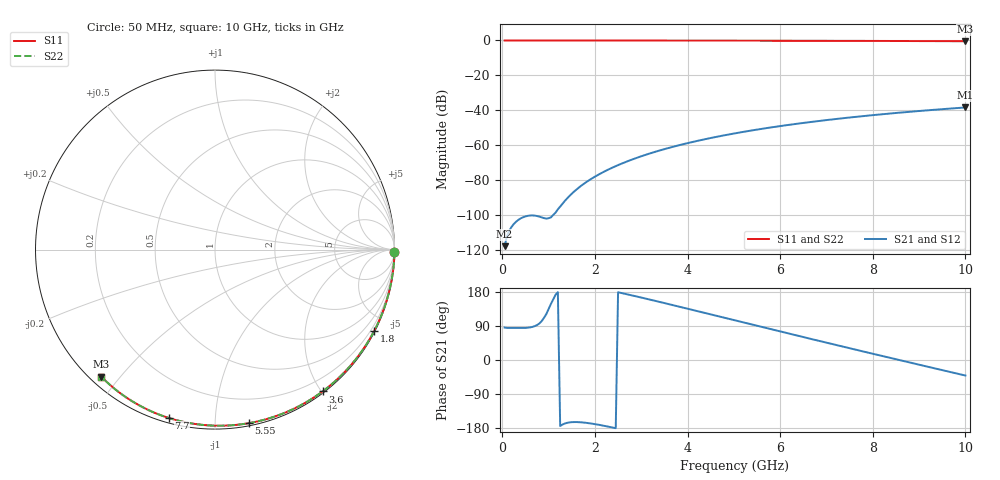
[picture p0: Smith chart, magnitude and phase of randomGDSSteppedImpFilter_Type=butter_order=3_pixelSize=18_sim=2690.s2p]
! freq	dB(S11)	phase(S11)	dB(S12)	phase(S12)
!  dB(S21)	phase(S21)	dB(S22)	phase(S22)
!S-par simulation data
#  GHz  S  DB  R 50
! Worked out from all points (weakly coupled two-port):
!   200 points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, 50 MHz to 10 GHz, reference 50 ohm
!   highest |S21| = -38.38 dB at 10 GHz (marker M1); lowest = -117.8 dB at 50 MHz (marker M2)
!   lowest |S11| = -0.4 dB at 10 GHz (marker M3), VSWR 38.99, Z = 1.54 - j22.4 ohm
!   |S11| at or under -10 dB: nowhere
!   |S22| runs from -0.4 to 0.0 dB; largest |S21 - S12| = 0
!   S11 on the Smith chart (normalised r, x): 50 MHz: open; 1.8 GHz: 0.04, -4.16; 3.6 GHz: 0.02, -2.01; 5.55 GHz: 0.02, -1.22; 7.7 GHz: 0.02, -0.76; 10 GHz: 0.03, -0.45
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0.05  -0.00 -0.8  -117.80 85.6  -117.80 85.6  -0.00 -0.8
0.9  -0.02 -13.6  -101.73 111.2  -101.73 111.2  -0.02 -13.6
1.75  -0.03 -26.3  -82.29 -164.9  -82.29 -164.9  -0.03 -26.3
1.8  -0.03 -27.0  -81.36 -165.6  -81.36 -165.6  -0.03 -27.0
1.85  -0.04 -27.7  -80.47 -166.4  -80.47 -166.4  -0.04 -27.8
1.9  -0.04 -28.5  -79.61 -167.3  -79.61 -167.3  -0.04 -28.5
2.05  -0.04 -30.7  -77.23 -170.3  -77.23 -170.3  -0.04 -30.7
2.25  -0.04 -33.6  -74.43 -174.9  -74.43 -174.9  -0.04 -33.6
2.45  -0.05 -36.5  -71.95 -180.0  -71.95 -180.0  -0.05 -36.5
2.65  -0.05 -39.4  -69.73 174.7  -69.73 174.7  -0.05 -39.4
3  -0.06 -44.4  -66.32 164.8  -66.32 164.8  -0.06 -44.4
3.4  -0.07 -50.0  -62.99 153.2  -62.99 153.2  -0.07 -50.1
3.6  -0.07 -52.8  -61.50 147.3  -61.50 147.3  -0.07 -52.9
4.3  -0.09 -62.4  -56.99 126.4  -56.99 126.4  -0.09 -62.5
5.05  -0.11 -72.4  -53.06 103.9  -53.06 103.9  -0.11 -72.4
5.55  -0.13 -78.9  -50.83 88.9  -50.83 88.9  -0.13 -78.9
6.1  -0.15 -85.9  -48.66 72.4  -48.66 72.4  -0.15 -85.9
6.7  -0.18 -93.3  -46.56 54.6  -46.56 54.6  -0.18 -93.4
7.7  -0.24 -105.3  -43.56 25.2  -43.56 25.2  -0.24 -105.4
8.35  -0.29 -112.9  -41.89 6.3  -41.89 6.3  -0.29 -113.0
9.15  -0.36 -122.1  -40.07 -16.7  -40.07 -16.7  -0.36 -122.2
10  -0.45 -131.8  -38.38 -41.0  -38.38 -41.0  -0.45 -131.9
